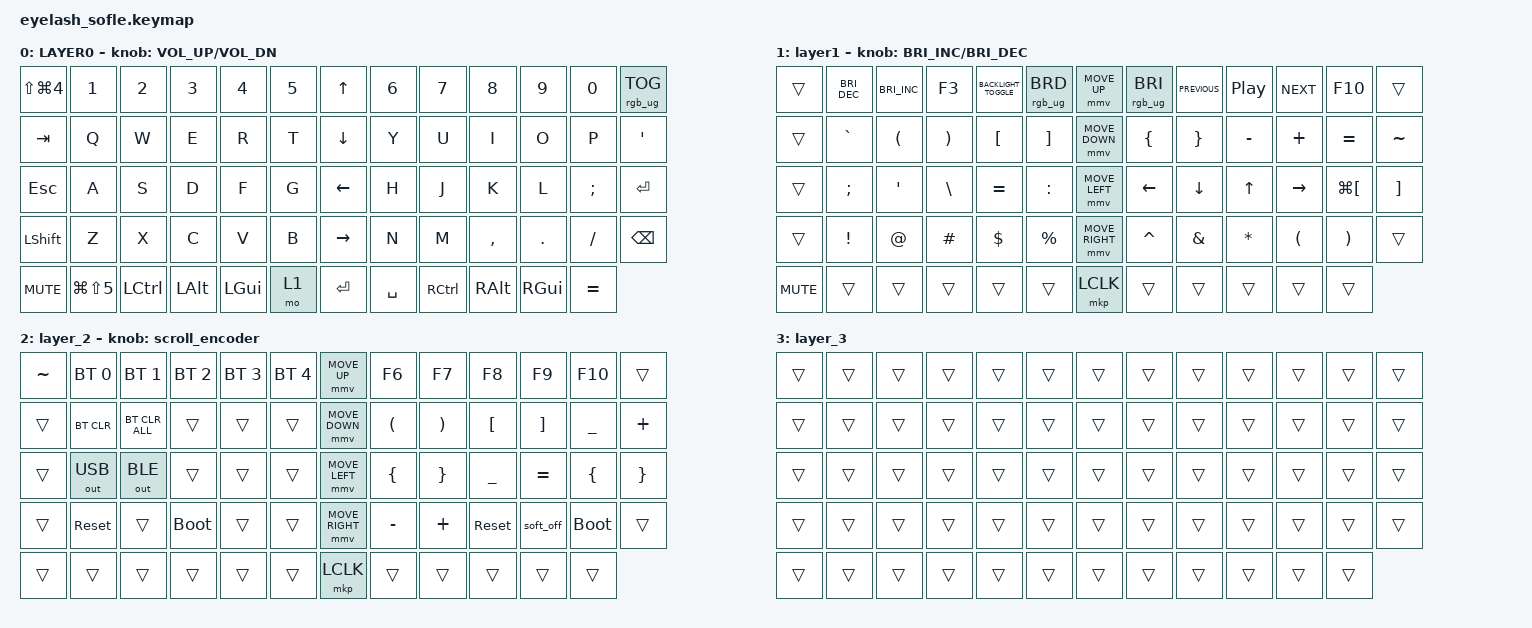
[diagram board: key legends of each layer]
#define ZMK_POINTING_DEFAULT_MOVE_VAL 1200  // 600
#define ZMK_POINTING_DEFAULT_SCRL_VAL 35    // 10

#include <input/processors.dtsi>
#include <zephyr/dt-bindings/input/input-event-codes.h>
#include <behaviors.dtsi>
#include <dt-bindings/zmk/bt.h>
#include <dt-bindings/zmk/keys.h>
#include <dt-bindings/zmk/outputs.h>
#include <dt-bindings/zmk/pointing.h>
#include <dt-bindings/zmk/rgb.h>

/ {
    zip_scroll_scaler: zip_scroll_scaler {
        compatible = "zmk,input-processor-scaler";
        #input-processor-cells = <2>;
        type = <INPUT_EV_REL>;
        codes = <INPUT_REL_WHEEL INPUT_REL_HWHEEL>;
        track-remainders;
    };
};

&mmv_input_listener { input-processors = <&zip_xy_scaler 2 1>; };

&msc_input_listener { input-processors = <&zip_scroll_scaler 2 1>; };

&msc {
    acceleration-exponent = <0>;      // 0
    time-to-max-speed-ms = <0>;       // 300
    delay-ms = <0>;                   // 0
};

&mmv {
    time-to-max-speed-ms = <400>;
    acceleration-exponent = <1>;
};

/ {
    scroll_encoder: scroll_encoder {
        compatible = "zmk,behavior-sensor-rotate";
        #sensor-binding-cells = <0>;
        bindings = <&msc SCRL_DOWN>, <&msc SCRL_UP>;

        tap-ms = <30>;
    };

    behaviors {
    };

    keymap {
        compatible = "zmk,keymap";

        layer0 {
            bindings = <
&kp LS(LG(NUMBER_4))  &kp N1                &kp N2     &kp N3        &kp N4        &kp N5    &kp UP_ARROW     &kp N6     &kp N7     &kp N8         &kp N9         &kp N0     &rgb_ug RGB_TOG
&kp TAB               &kp Q                 &kp W      &kp E         &kp R         &kp T     &kp DOWN_ARROW   &kp Y      &kp U      &kp I          &kp O          &kp P      &kp SINGLE_QUOTE
&kp ESCAPE            &kp A                 &kp S      &kp D         &kp F         &kp G     &kp LEFT_ARROW   &kp H      &kp J      &kp K          &kp L          &kp SEMI   &kp ENTER
&kp LEFT_SHIFT        &kp Z                 &kp X      &kp C         &kp V         &kp B     &kp RIGHT_ARROW  &kp N      &kp M      &kp COMMA      &kp DOT        &kp FSLH   &kp BACKSPACE
&kp C_MUTE            &kp LG(LS(NUMBER_5))  &kp LCTRL  &kp LEFT_ALT  &kp LEFT_GUI  &mo 1     &kp ENTER        &kp SPACE  &kp RCTRL  &kp RIGHT_ALT  &kp RIGHT_GUI  &kp EQUAL
            >;

            sensor-bindings = <&inc_dec_kp C_VOLUME_UP C_VOL_DN>;
            display-name = "LAYER0";
        };

        layer_1 {
            bindings = <
&trans      &kp C_BRIGHTNESS_DEC  &kp C_BRIGHTNESS_INC  &kp F3                 &kp C_BACKLIGHT_TOGGLE  &rgb_ug RGB_BRD      &mmv MOVE_UP     &rgb_ug RGB_BRI  &kp C_PREVIOUS   &kp C_PLAY_PAUSE  &kp C_NEXT            &kp F10                &trans
&trans      &kp GRAVE             &kp LEFT_PARENTHESIS  &kp RIGHT_PARENTHESIS  &kp LEFT_BRACKET        &kp RIGHT_BRACKET    &mmv MOVE_DOWN   &kp LEFT_BRACE   &kp RIGHT_BRACE  &kp MINUS         &kp PLUS              &kp EQUAL              &kp TILDE
&trans      &kp SEMICOLON         &kp SINGLE_QUOTE      &kp BACKSLASH          &kp EQUAL               &kp COLON            &mmv MOVE_LEFT   &kp LEFT_ARROW   &kp DOWN         &kp UP_ARROW      &kp RIGHT_ARROW       &kp LG(LEFT_BRACKET)   &kp RIGHT_BRACKET
&trans      &kp EXCL              &kp AT                &kp HASH               &kp DOLLAR              &kp PERCENT          &mmv MOVE_RIGHT  &kp CARET        &kp AMPERSAND    &kp STAR          &kp LEFT_PARENTHESIS  &kp RIGHT_PARENTHESIS  &trans
&kp C_MUTE  &trans                &trans                &trans                 &trans                  &trans               &mkp LCLK        &trans           &trans           &trans            &trans                &trans
            >;

            display-name = "layer1";
            sensor-bindings = <&inc_dec_kp C_BRIGHTNESS_INC C_BRIGHTNESS_DEC>;
        };

        layer_2 {
            bindings = <
&kp TILDE  &bt BT_SEL 0  &bt BT_SEL 1    &bt BT_SEL 2  &bt BT_SEL 3  &bt BT_SEL 4    &mmv MOVE_UP     &kp F6                &kp F7                 &kp F8            &kp F9             &kp F10      &trans
&trans     &bt BT_CLR    &bt BT_CLR_ALL  &trans        &trans        &trans          &mmv MOVE_DOWN   &kp LEFT_PARENTHESIS  &kp RIGHT_PARENTHESIS  &kp LEFT_BRACKET  &kp RIGHT_BRACKET  &kp UNDER    &kp PLUS
&trans     &out OUT_USB  &out OUT_BLE    &trans        &trans        &trans          &mmv MOVE_LEFT   &kp LEFT_BRACE        &kp RIGHT_BRACE        &kp UNDERSCORE    &kp EQUAL          &kp LBRC     &kp RBRC
&trans     &sys_reset    &trans          &bootloader   &trans        &trans          &mmv MOVE_RIGHT  &kp MINUS             &kp PLUS               &sys_reset        &soft_off          &bootloader  &trans
&trans     &trans        &trans          &trans        &trans        &trans          &mkp LCLK        &trans                &trans                 &trans            &trans             &trans
            >;

            sensor-bindings = <&scroll_encoder>;
        };

        layer_3 {
            bindings = <
&trans  &trans  &trans  &trans  &trans  &trans    &trans  &trans  &trans  &trans  &trans  &trans  &trans
&trans  &trans  &trans  &trans  &trans  &trans    &trans  &trans  &trans  &trans  &trans  &trans  &trans
&trans  &trans  &trans  &trans  &trans  &trans    &trans  &trans  &trans  &trans  &trans  &trans  &trans
&trans  &trans  &trans  &trans  &trans  &trans    &trans  &trans  &trans  &trans  &trans  &trans  &trans
&trans  &trans  &trans  &trans  &trans  &trans    &trans  &trans  &trans  &trans  &trans  &trans
            >;
        };
    };
};
